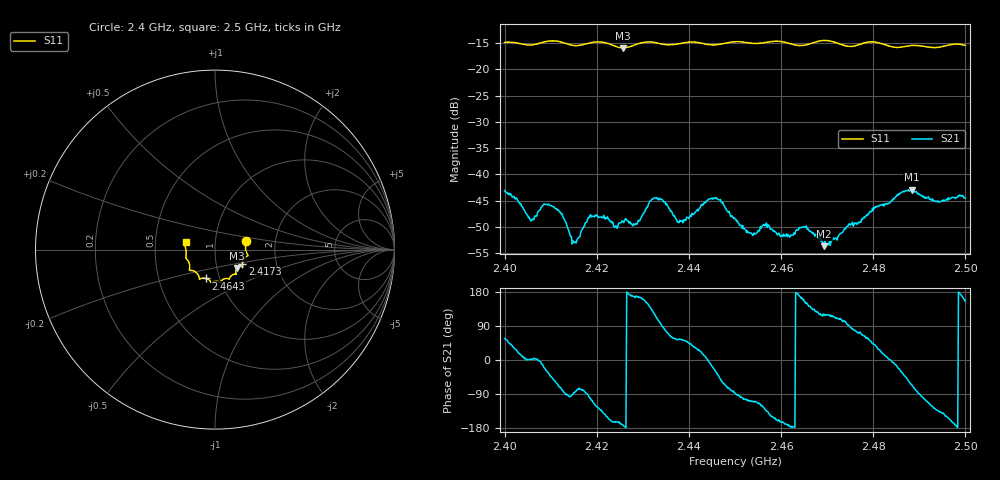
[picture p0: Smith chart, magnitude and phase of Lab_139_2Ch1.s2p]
# Hz S RI R 50
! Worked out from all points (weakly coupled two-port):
!   601 points, 2.4 GHz to 2.5 GHz, reference 50 ohm
!   highest |S21| = -42.90 dB at 2.4883 GHz (marker M1); lowest = -53.7 dB at 2.4693 GHz (marker M2)
!   lowest |S11| = -15.9 dB at 2.4257 GHz (marker M3), VSWR 1.38, Z = 62.4 - j13.2 ohm
!   |S11| at or under -10 dB: start of sweep to end of sweep
!   S12 and S22 are empty: the file has one direction only
!   S11 on the Smith chart (normalised r, x): 2.4 GHz: 1.41, +0.14; 2.4173 GHz: 1.34, -0.23; 2.4643 GHz: 0.86, -0.28; 2.5 GHz: 0.72, +0.06
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2.4e9  0.1736 0.0497  0.00387 0.00585  0 0  0 0
2.405667e9  0.1702 0.00517  0.00361 0.000163  0 0  0 0
2.409667e9  0.183 -0.0316  0.00409 -0.00311  0 0  0 0
2.412167e9  0.1788 -0.0369  0.00129 -0.00416  0 0  0 0
2.415e9  0.1589 -0.0557  0.000156 -0.00225  0 0  0 0
2.416667e9  0.1528 -0.075  0.00055 -0.00286  0 0  0 0
2.417333e9  0.1523 -0.0823  0.000393 -0.0032  0 0  0 0
2.419e9  0.1533 -0.0948  -0.00115 -0.00384  0 0  0 0
2.425667e9  0.1227 -0.1026  -0.00353 -0.00054  0 0  0 0
2.428333e9  0.1153 -0.1266  -0.0032 0.000879  0 0  0 0
2.433333e9  0.1126 -0.1367  -0.00144 0.00555  0 0  0 0
2.437833e9  0.0836 -0.1536  0.00203 0.00281  0 0  0 0
2.4455e9  0.0512 -0.1629  0.00533 -0.00252  0 0  0 0
2.45e9  0.0297 -0.1809  0.000176 -0.00376  0 0  0 0
2.453833e9  0.0112 -0.1763  -0.000841 -0.00248  0 0  0 0
2.456333e9  -0.00921 -0.1791  -0.002 -0.00268  0 0  0 0
2.464333e9  -0.0502 -0.1606  -0.00299 0.000924  0 0  0 0
2.466667e9  -0.0764 -0.1599  -0.00204 0.00195  0 0  0 0
2.469333e9  -0.0878 -0.1664  -0.00104 0.00179  0 0  0 0
2.483333e9  -0.1407 -0.0895  0.00526 0.000237  0 0  0 0
2.488333e9  -0.1613 -0.0492  0.00304 -0.00648  0 0  0 0
2.5e9  -0.1635 0.0418  -0.00537 0.00255  0 0  0 0
